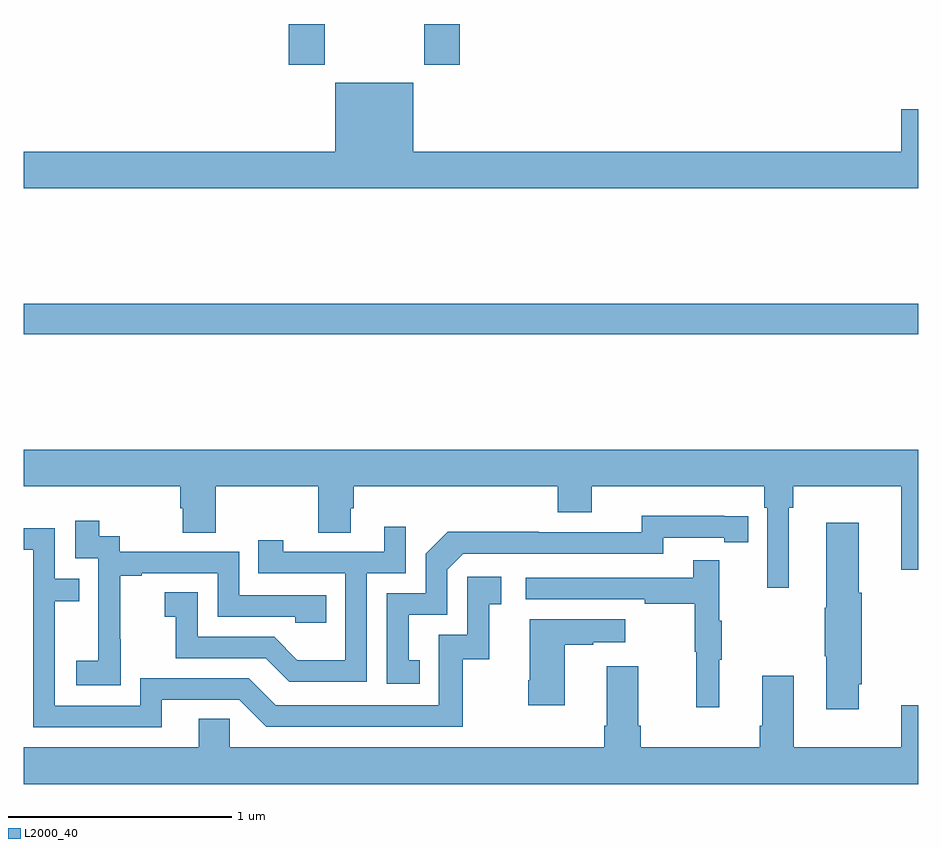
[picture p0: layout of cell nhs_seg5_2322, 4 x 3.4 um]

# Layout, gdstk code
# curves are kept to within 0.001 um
import gdstk
lib = gdstk.Library(unit=1e-6, precision=1e-09)
def R(c, l, rs):  # rectangles x0, y0, x1, y1
    for r in rs: c.add(gdstk.rectangle(r[:2], r[2:], *l))
def P(c, l, *ps):  # polygons
    for p in ps: c.add(gdstk.Polygon(p, *l))
L2000_40 = (2000, 40)

nhs_seg5_2322 = lib.new_cell('nhs_seg5_2322')
R(nhs_seg5_2322, L2000_40, [(245,885.412,249,885.548), (246.185,886.617,246.345,886.799), (246.79,886.617,246.95,886.799)])
P(nhs_seg5_2322, L2000_40, [(249,886.417),(248.924,886.417),(248.924,886.228),(246.742,886.228),(246.742,886.537),(246.392,886.537),(246.392,886.228),(245,886.228),(245,886.064),(249,886.064)],
  [(245,884.732),(245.699,884.732),(245.699,884.634),(245.711,884.634),(245.711,884.524),(245.859,884.524),(245.859,884.732),(246.316,884.732),(246.316,884.524),(246.463,884.524),(246.463,884.634),(246.476,884.634),(246.476,884.732),(247.388,884.732),(247.388,884.615),(247.54,884.615),(247.54,884.732),(248.312,884.732),(248.312,884.636),(248.325,884.636),(248.325,884.277),(248.422,884.277),(248.422,884.636),(248.441,884.636),(248.441,884.732),(248.924,884.732),(248.924,884.358),(249,884.358),(249,884.896),(245,884.896)],
  [(246.77,883.953),(246.721,883.953),(246.721,884.157),(246.894,884.157),(246.894,884.358),(246.966,884.43),(247.86,884.43),(247.86,884.502),(248.132,884.502),(248.132,884.482),(248.24,884.482),(248.24,884.598),(247.764,884.599),(247.764,884.526),(247.304,884.526),(247.304,884.528),(246.896,884.528),(246.798,884.43),(246.798,884.253),(246.624,884.253),(246.624,883.848),(246.77,883.848)],
  [(245.433,884.047),(245.432,884.047),(245.432,884.331),(245.527,884.331),(245.527,884.343),(245.868,884.343),(245.868,884.148),(246.213,884.148),(246.213,884.121),(246.353,884.121),(246.353,884.244),(245.964,884.244),(245.964,884.439),(245.43,884.439),(245.43,884.508),(245.338,884.508),(245.338,884.578),(245.229,884.578),(245.229,884.409),(245.334,884.409),(245.334,884.18),(245.333,884.18),(245.333,883.951),(245.235,883.951),(245.235,883.841),(245.433,883.841)],
  [(248.734,883.846),(248.747,883.846),(248.747,884.256),(248.734,884.256),(248.734,884.569),(248.588,884.569),(248.588,884.189),(248.581,884.189),(248.581,883.972),(248.588,883.972),(248.588,883.734),(248.734,883.734)],
  [(246.534,884.343),(246.708,884.343),(246.708,884.551),(246.611,884.551),(246.611,884.439),(246.16,884.439),(246.16,884.491),(246.049,884.491),(246.049,884.343),(246.438,884.343),(246.438,883.954),(246.224,883.954),(246.12,884.058),(245.778,884.058),(245.778,884.257),(245.631,884.257),(245.631,884.147),(245.68,884.147),(245.68,883.962),(246.083,883.962),(246.188,883.857),(246.534,883.857)],
  [(245.617,883.776),(245.964,883.776),(246.084,883.656),(246.964,883.656),(246.964,883.959),(247.082,883.959),(247.082,884.205),(247.135,884.205),(247.135,884.326),(246.984,884.326),(246.984,884.067),(246.855,884.067),(246.855,883.752),(246.126,883.752),(246.006,883.872),(245.52,883.872),(245.52,883.749),(245.139,883.749),(245.139,884.218),(245.249,884.218),(245.249,884.319),(245.139,884.319),(245.139,884.544),(245,884.544),(245,884.448),(245.043,884.448),(245.043,883.653),(245.617,883.653)],
  [(248.111,883.955),(248.122,883.955),(248.122,884.129),(248.111,884.129),(248.111,884.401),(247.993,884.401),(247.993,884.322),(247.245,884.322),(247.245,884.226),(247.777,884.226),(247.777,884.206),(248.001,884.206),(248.001,883.992),(248.008,883.992),(248.008,883.743),(248.111,883.743)],
  [(247.42,884.023),(247.547,884.023),(247.547,884.033),(247.69,884.033),(247.69,884.137),(247.262,884.137),(247.262,883.864),(247.255,883.864),(247.255,883.752),(247.42,883.752)],
  [(249,883.753),(248.924,883.753),(248.924,883.564),(248.443,883.564),(248.443,883.885),(248.303,883.885),(248.303,883.66),(248.291,883.66),(248.291,883.564),(247.76,883.564),(247.76,883.66),(247.747,883.66),(247.747,883.927),(247.607,883.927),(247.607,883.66),(247.595,883.66),(247.595,883.564),(245.922,883.564),(245.922,883.691),(245.783,883.691),(245.783,883.564),(245,883.564),(245,883.4),(249,883.4)])

lib.write_gds('nhs_seg5_2322.gds')
